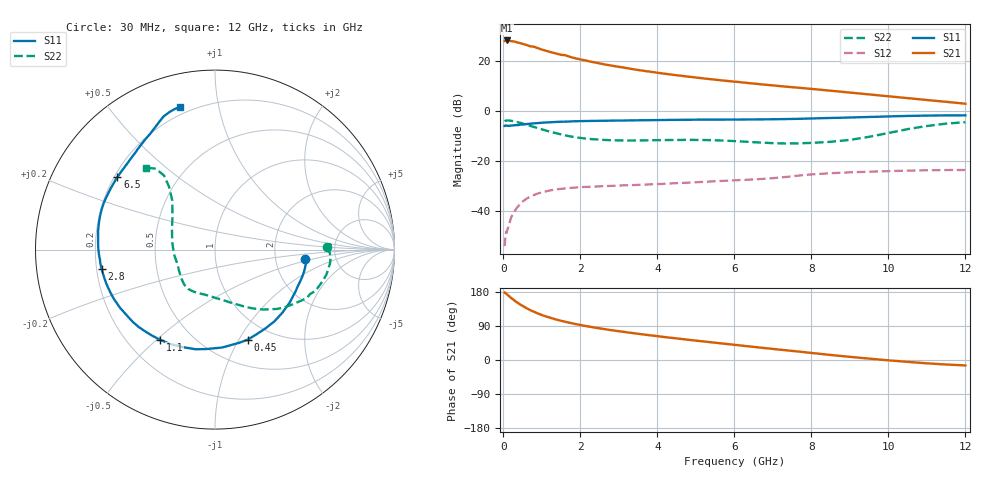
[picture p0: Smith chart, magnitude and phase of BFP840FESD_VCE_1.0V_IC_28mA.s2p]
! Infineon Technologies  Discrete & RF Semiconductors
! BFP840FESD
! VCE =  1.0 V,  IC =  28 mA
! Common Emitter S-Parameters:  May 2012
# GHz  S  MA  R  50
!  f  S11  S21  S12  S22
! GHz  MAG  ANG  MAG  ANG  MAG  ANG  MAG  ANG
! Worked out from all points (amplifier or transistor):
!   103 points, 30 MHz to 12 GHz, reference 50 ohm
!   highest |S21| = 28.1 dB at 80 MHz (marker M1)
!   |S21| within 3 dB of that: start of sweep to 879.7 MHz
!   unconditionally stable (mu >= 1): start of sweep to 273.9 MHz; 2.641 GHz to end of sweep
!   at 400 MHz: K = 0.80, MSG = 32.5 dB, |S12| = -37.8 dB
!   at 3.7 GHz: K = 1.23, MAG = 19.8 dB, |S12| = -29.4 dB
!   at 12 GHz: K = 1.54, MAG = 8.9 dB, |S12| = -23.6 dB
!   S11 on the Smith chart (normalised r, x): 30 MHz: 2.96, -0.39; 450 MHz: 0.78, -1.09; 1.1 GHz: 0.33, -0.52; 2.8 GHz: 0.22, -0.08; 6.5 GHz: 0.21, +0.32; 12 GHz: 0.16, +0.77
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0.03  0.5019 -5.7  24.78 177.3  0.002 54.6  0.622 1.2
0.04  0.5026 -7.4  24.86 176.7  0.0025 45.9  0.6305 0.3
0.05  0.5124 -9.0  25.49 177.5  0.0029 56.8  0.6361 -0.6
0.08  0.5104 -14.6  25.52 174.3  0.0037 47.5  0.6428 -3.3
0.2  0.5101 -35.4  24.76 163.6  0.0075 65.8  0.6362 -12.6
0.3  0.5193 -50.4  24.08 155.9  0.0103 63.6  0.6151 -19.1
0.45  0.5337 -69.9  22.49 145.4  0.0145 59.0  0.5784 -27.7
0.6  0.5469 -85.8  20.7 136.8  0.0177 54.3  0.5284 -35.3
0.7  0.5558 -94.7  19.52 131.4  0.0196 51.4  0.5031 -39.8
0.8  0.5656 -100.9  19.1 127.0  0.0211 48.9  0.4776 -43.8
0.9  0.5732 -108.9  17.82 122.6  0.0226 46.2  0.4511 -47.5
1.1  0.588 -121.1  15.91 115.1  0.0248 42.4  0.4071 -54.4
1.5  0.6098 -138.6  13.18 103.4  0.0279 36.4  0.339 -66.0
1.6  0.6112 -141.0  13.01 101.1  0.0284 35.4  0.3261 -68.8
2.1  0.6288 -156.3  10.29 90.3  0.0304 31.6  0.2829 -81.7
2.8  0.6405 -170.2  8.047 78.8  0.032 29.7  0.2601 -96.2
4.1  0.6594 171.0  5.649 61.6  0.0348 30.5  0.2618 -115.1
6.1  0.6737 148.3  3.79 39.0  0.0416 33.2  0.2478 -138.6
6.5  0.6769 143.4  3.525 34.6  0.0429 34.1  0.2379 -145.0
8.5  0.7243 122.9  2.534 13.3  0.0572 31.8  0.2421 170.1
10.5  0.7954 111.1  1.803 -4.9  0.0644 24.2  0.4336 126.2
12  0.8172 103.7  1.395 -14.3  0.0664 21.4  0.5963 130.0
